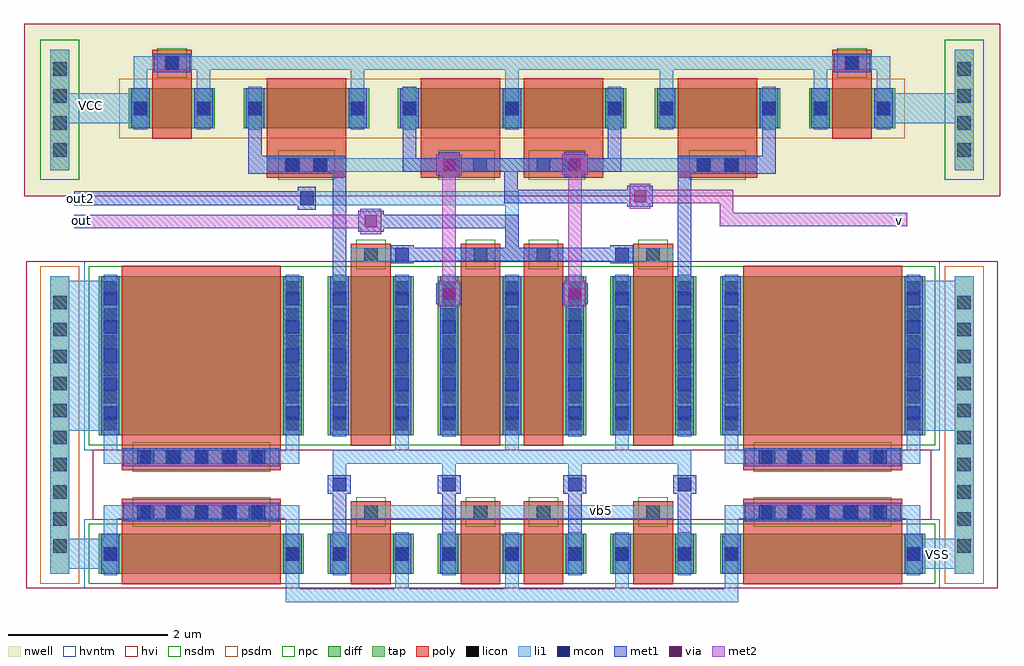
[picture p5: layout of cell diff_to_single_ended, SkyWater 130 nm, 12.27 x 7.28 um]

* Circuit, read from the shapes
.subckt diff_to_single_ended VCC VSS out out2 v vb5
XM1 VSS VSS VSS VSS sky130_fd_pr__nfet_g5v0d10v5 w=0.5 l=2 m=2
XM2 VSS VSS VSS VSS sky130_fd_pr__nfet_g5v0d10v5 w=2 l=2 m=2
XM3 VSS vb5 n1 VSS sky130_fd_pr__nfet_g5v0d10v5 w=0.5 l=0.5 m=4
XM4 n1 out n2 VSS sky130_fd_pr__nfet_g5v0d10v5 w=2 l=0.5 m=2
XM5 n1 out2 v VSS sky130_fd_pr__nfet_g5v0d10v5 w=2 l=0.5 m=2
XM6 VCC VCC VCC VCC sky130_fd_pr__pfet_g5v0d10v5 w=0.5 l=0.5 m=2
XM7 VCC n2 n2 VCC sky130_fd_pr__pfet_g5v0d10v5 w=0.5 l=1 m=2
XM8 VCC n2 v VCC sky130_fd_pr__pfet_g5v0d10v5 w=0.5 l=1 m=2
.ends

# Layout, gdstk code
import gdstk
lib = gdstk.Library(unit=1e-6, precision=1e-09)
def R(c, l, rs):  # rectangles x0, y0, x1, y1
    for r in rs: c.add(gdstk.rectangle(r[:2], r[2:], *l))
def A(c, l, x, y, w, h, nx, ny, dx, dy):  # array of equal rectangles
    R(c, l, [(x+i*dx, y+j*dy, x+i*dx+w, y+j*dy+h) for i in range(nx) for j in range(ny)])
nwell = (64, 20)
diff = (65, 20)
tap = (65, 44)
poly = (66, 20)
licon = (66, 44)
li1 = (67, 20)
mcon = (67, 44)
met1 = (68, 20)
via = (68, 44)
met2 = (69, 20)
hvi = (75, 20)
nsdm = (93, 44)
psdm = (94, 20)
npc = (95, 20)
hvntm = (125, 20)

sky130_fd_pr__nfet_g5v0d = lib.new_cell('sky130_fd_pr__nfet_g5v0d10v5_CDSXD6')
R(sky130_fd_pr__nfet_g5v0d, diff, [(-1.29,-0.405,1.29,0.095)])
R(sky130_fd_pr__nfet_g5v0d, poly, [(-1,-0.535,1,0.535)])
A(sky130_fd_pr__nfet_g5v0d, licon, -0.765, 0.285, 0.17, 0.17, 5, 1, 0.34, 0)
R(sky130_fd_pr__nfet_g5v0d, licon, [(-1.23,-0.24,-1.06,-0.07), (1.06,-0.24,1.23,-0.07)])
R(sky130_fd_pr__nfet_g5v0d, li1, [(-1.23,-0.425,-1.06,0.115), (1.06,-0.425,1.23,0.115), (-1,0.285,1,0.455)])
A(sky130_fd_pr__nfet_g5v0d, mcon, -0.805, 0.285, 0.17, 0.17, 5, 1, 0.36, 0)
R(sky130_fd_pr__nfet_g5v0d, mcon, [(-1.23,-0.24,-1.06,-0.07), (1.06,-0.24,1.23,-0.07)])
R(sky130_fd_pr__nfet_g5v0d, met1, [(-1.26,-0.405,-1.03,0.095), (1.03,-0.405,1.26,0.095), (-0.98,0.255,0.98,0.485)])
R(sky130_fd_pr__nfet_g5v0d, hvi, [(-1.475,-0.59,1.475,0.28)])
R(sky130_fd_pr__nfet_g5v0d, nsdm, [(-1.415,-0.53,1.415,0.22)])
R(sky130_fd_pr__nfet_g5v0d, npc, [(-0.865,0.185,0.865,0.555)])
R(sky130_fd_pr__nfet_g5v0d, hvntm, [(-1.475,-0.59,1.475,0.28)])

c_sky130_fd_pr__nfet_g5v0d = lib.new_cell('sky130_fd_pr__nfet_g5v0d10v5_DFFFYB')
R(c_sky130_fd_pr__nfet_g5v0d, diff, [(-1.29,-0.845,1.29,1.155)])
R(c_sky130_fd_pr__nfet_g5v0d, poly, [(-1,-1.285,1,1.285)])
A(c_sky130_fd_pr__nfet_g5v0d, licon, -0.765, -1.205, 0.17, 0.17, 5, 1, 0.34, 0)
A(c_sky130_fd_pr__nfet_g5v0d, licon, -1.23, -0.78, 0.17, 0.17, 1, 6, 0, 0.34)
A(c_sky130_fd_pr__nfet_g5v0d, licon, 1.06, -0.78, 0.17, 0.17, 1, 6, 0, 0.34)
R(c_sky130_fd_pr__nfet_g5v0d, li1, [(-1,-1.205,1,-1.035), (-1.23,-0.865,-1.06,1.175), (1.06,-0.865,1.23,1.175)])
A(c_sky130_fd_pr__nfet_g5v0d, mcon, -0.805, -1.205, 0.17, 0.17, 5, 1, 0.36, 0)
A(c_sky130_fd_pr__nfet_g5v0d, mcon, -1.23, -0.65, 0.17, 0.17, 1, 5, 0, 0.36)
A(c_sky130_fd_pr__nfet_g5v0d, mcon, 1.06, -0.65, 0.17, 0.17, 1, 5, 0, 0.36)
R(c_sky130_fd_pr__nfet_g5v0d, met1, [(-0.98,-1.235,0.98,-1.005), (-1.26,-0.845,-1.03,1.155), (1.03,-0.845,1.26,1.155)])
R(c_sky130_fd_pr__nfet_g5v0d, hvi, [(-1.475,-1.03,1.475,1.34)])
R(c_sky130_fd_pr__nfet_g5v0d, nsdm, [(-1.415,-0.97,1.415,1.28)])
R(c_sky130_fd_pr__nfet_g5v0d, npc, [(-0.865,-1.305,0.865,-0.935)])
R(c_sky130_fd_pr__nfet_g5v0d, hvntm, [(-1.475,-1.03,1.475,1.34)])

c_sky130_fd_pr__nfet_g5v0d_ = lib.new_cell('sky130_fd_pr__nfet_g5v0d10v5_NY97Z6')
R(c_sky130_fd_pr__nfet_g5v0d_, diff, [(-0.54,-1,0.54,1)])
R(c_sky130_fd_pr__nfet_g5v0d_, poly, [(-0.25,-1.13,0.25,1.13)])
A(c_sky130_fd_pr__nfet_g5v0d_, licon, -0.48, -0.935, 0.17, 0.17, 1, 6, 0, 0.34)
A(c_sky130_fd_pr__nfet_g5v0d_, licon, 0.31, -0.935, 0.17, 0.17, 1, 6, 0, 0.34)
R(c_sky130_fd_pr__nfet_g5v0d_, li1, [(-0.48,-1.02,-0.31,1.02), (0.31,-1.02,0.48,1.02)])
A(c_sky130_fd_pr__nfet_g5v0d_, mcon, -0.48, -0.805, 0.17, 0.17, 1, 5, 0, 0.36)
A(c_sky130_fd_pr__nfet_g5v0d_, mcon, 0.31, -0.805, 0.17, 0.17, 1, 5, 0, 0.36)
R(c_sky130_fd_pr__nfet_g5v0d_, met1, [(-0.51,-1,-0.28,1), (0.28,-1,0.51,1)])
R(c_sky130_fd_pr__nfet_g5v0d_, hvi, [(-0.725,-1.185,0.725,1.185)])
R(c_sky130_fd_pr__nfet_g5v0d_, nsdm, [(-0.665,-1.125,0.665,1.125)])
R(c_sky130_fd_pr__nfet_g5v0d_, hvntm, [(-0.725,-1.185,0.725,1.185)])

c_sky130_fd_pr__nfet_g5v0d__ = lib.new_cell('sky130_fd_pr__nfet_g5v0d10v5_VNB5GC')
R(c_sky130_fd_pr__nfet_g5v0d__, diff, [(-0.54,-0.25,0.54,0.25)])
R(c_sky130_fd_pr__nfet_g5v0d__, poly, [(-0.25,-0.38,0.25,0.38)])
R(c_sky130_fd_pr__nfet_g5v0d__, licon, [(-0.48,-0.085,-0.31,0.085), (0.31,-0.085,0.48,0.085)])
R(c_sky130_fd_pr__nfet_g5v0d__, li1, [(-0.48,-0.27,-0.31,0.27), (0.31,-0.27,0.48,0.27)])
R(c_sky130_fd_pr__nfet_g5v0d__, mcon, [(-0.48,-0.085,-0.31,0.085), (0.31,-0.085,0.48,0.085)])
R(c_sky130_fd_pr__nfet_g5v0d__, met1, [(-0.51,-0.25,-0.28,0.25), (0.28,-0.25,0.51,0.25)])
R(c_sky130_fd_pr__nfet_g5v0d__, hvi, [(-0.725,-0.435,0.725,0.435)])
R(c_sky130_fd_pr__nfet_g5v0d__, nsdm, [(-0.665,-0.375,0.665,0.375)])
R(c_sky130_fd_pr__nfet_g5v0d__, hvntm, [(-0.725,-0.435,0.725,0.435)])

sky130_fd_pr__pfet_g5v0d = lib.new_cell('sky130_fd_pr__pfet_g5v0d10v5_HCV9S7')
R(sky130_fd_pr__pfet_g5v0d, nwell, [(-0.72,-0.74,0.72,0.57)])
R(sky130_fd_pr__pfet_g5v0d, diff, [(-0.54,-0.43,0.54,0.07)])
R(sky130_fd_pr__pfet_g5v0d, poly, [(-0.25,-0.56,0.25,0.555)])
R(sky130_fd_pr__pfet_g5v0d, licon, [(-0.48,-0.265,-0.31,-0.095), (0.31,-0.265,0.48,-0.095), (-0.085,0.305,0.085,0.475)])
R(sky130_fd_pr__pfet_g5v0d, li1, [(-0.48,-0.45,-0.31,0.09), (0.31,-0.45,0.48,0.09), (-0.25,0.305,0.25,0.475)])
R(sky130_fd_pr__pfet_g5v0d, mcon, [(-0.48,-0.265,-0.31,-0.095), (0.31,-0.265,0.48,-0.095), (-0.085,0.305,0.085,0.475)])
R(sky130_fd_pr__pfet_g5v0d, met1, [(-0.51,-0.43,-0.28,0.07), (0.28,-0.43,0.51,0.07), (-0.23,0.275,0.23,0.505)])
R(sky130_fd_pr__pfet_g5v0d, hvi, [(-0.72,-0.74,0.72,-0.615), (-0.725,-0.615,0.725,0.255), (-0.72,0.255,0.72,0.57)])
R(sky130_fd_pr__pfet_g5v0d, psdm, [(-0.665,-0.555,0.665,0.195)])
R(sky130_fd_pr__pfet_g5v0d, npc, [(-0.185,0.205,0.185,0.575)])

c_sky130_fd_pr__pfet_g5v0d = lib.new_cell('sky130_fd_pr__pfet_g5v0d10v5_HGG9EV')
R(c_sky130_fd_pr__pfet_g5v0d, nwell, [(-0.97,-0.56,0.97,0.56)])
R(c_sky130_fd_pr__pfet_g5v0d, diff, [(-0.79,-0.25,0.79,0.25)])
R(c_sky130_fd_pr__pfet_g5v0d, poly, [(-0.5,-0.38,0.5,0.38)])
R(c_sky130_fd_pr__pfet_g5v0d, licon, [(-0.73,-0.085,-0.56,0.085), (0.56,-0.085,0.73,0.085)])
R(c_sky130_fd_pr__pfet_g5v0d, li1, [(-0.73,-0.27,-0.56,0.27), (0.56,-0.27,0.73,0.27)])
R(c_sky130_fd_pr__pfet_g5v0d, mcon, [(-0.73,-0.085,-0.56,0.085), (0.56,-0.085,0.73,0.085)])
R(c_sky130_fd_pr__pfet_g5v0d, met1, [(-0.76,-0.25,-0.53,0.25), (0.53,-0.25,0.76,0.25)])
R(c_sky130_fd_pr__pfet_g5v0d, hvi, [(-0.97,-0.56,0.97,-0.435), (-0.975,-0.435,0.975,0.435), (-0.97,0.435,0.97,0.56)])
R(c_sky130_fd_pr__pfet_g5v0d, psdm, [(-0.915,-0.375,0.915,0.375)])

diff_to_single_ended = lib.new_cell('diff_to_single_ended')
R(diff_to_single_ended, nwell, [(-4.53,-0.455,7.74,1.715)])
R(diff_to_single_ended, tap, [(-4.2,-5.2,-3.96,-1.46), (7.17,-5.2,7.41,-1.46), (-4.2,-0.125,-3.96,1.385), (7.17,-0.125,7.41,1.385)])
R(diff_to_single_ended, poly, [(-0.42,-4.66,0.08,-4.29), (0.96,-4.66,1.46,-4.29), (1.75,-4.66,2.25,-4.29), (3.13,-4.66,3.63,-4.29), (1.75,-1.42,2.25,-1.05), (3.13,-1.41,3.63,-1.05), (-0.42,-1.385,0.08,-1.05), (0.96,-1.385,1.46,-1.05), (-1.48,-0.22,-0.48,0.4), (0.46,-0.22,1.46,0.4), (1.75,-0.22,2.75,0.4), (3.69,-0.22,4.69,0.4)])
A(diff_to_single_ended, licon, -4.165, -4.935, 0.17, 0.17, 1, 10, 0, 0.34)
A(diff_to_single_ended, licon, 7.205, -4.935, 0.17, 0.17, 1, 10, 0, 0.34)
A(diff_to_single_ended, licon, -4.165, 0.04, 0.17, 0.17, 1, 4, 0, 0.34)
A(diff_to_single_ended, licon, 7.205, 0.04, 0.17, 0.17, 1, 4, 0, 0.34)
R(diff_to_single_ended, licon, [(-0.255,-4.51,-0.085,-4.34), (1.125,-4.51,1.295,-4.34), (1.915,-4.51,2.085,-4.34), (3.295,-4.51,3.465,-4.34), (-0.255,-1.27,-0.085,-1.1), (1.125,-1.27,1.295,-1.1), (1.915,-1.27,2.085,-1.1), (3.295,-1.27,3.465,-1.1), (-1.235,-0.145,-1.065,0.025), (-0.895,-0.145,-0.725,0.025), (0.78,-0.145,0.95,0.025), (1.12,-0.145,1.29,0.025), (1.915,-0.145,2.085,0.025), (2.255,-0.145,2.425,0.025), (3.935,-0.145,4.105,0.025), (4.275,-0.145,4.445,0.025)])
A(diff_to_single_ended, li1, -0.42, 0.46, 0.17, 0.675, 3, 1, 1.94, 0)
R(diff_to_single_ended, li1, [(-1.24,-5.56,4.45,-5.39), (-1.24,-5.39,-1.07,-4.51), (0.14,-5.39,0.31,-4.925), (1.52,-5.39,1.69,-5.05), (2.9,-5.39,3.07,-4.96), (4.28,-5.39,4.45,-4.51), (-4.2,-5.2,-3.96,-5.14), (7.17,-5.2,7.41,-5.14), (-4.2,-5.14,-3.36,-4.76), (6.57,-5.14,7.41,-4.76), (-4.2,-4.76,-3.96,-3.4), (-3.53,-4.76,-3.36,-4.51), (6.57,-4.76,6.74,-4.51), (7.17,-4.76,7.41,-3.4), (-3.53,-4.51,-1.07,-4.34), (-0.42,-4.51,3.63,-4.34), (4.28,-4.51,6.74,-4.34), (-0.65,-4.165,-0.48,-3.82), (0.73,-4.165,0.9,-3.82), (2.31,-4.165,2.48,-3.82), (3.69,-4.165,3.86,-3.82), (-3.53,-3.82,-1.07,-3.65), (-0.65,-3.82,3.86,-3.65), (4.28,-3.82,6.74,-3.65), (-3.53,-3.65,-3.36,-3.47), (-1.24,-3.65,-1.07,-3.46), (0.14,-3.65,0.31,-3.4), (1.52,-3.65,1.69,-3.45), (2.9,-3.65,3.07,-3.39), (4.28,-3.65,4.45,-3.465), (6.57,-3.65,6.74,-3.465), (-4.2,-3.4,-3.515,-1.52), (6.57,-3.4,7.41,-1.52), (-4.2,-1.52,-3.96,-1.46), (7.17,-1.52,7.41,-1.46), (-0.42,-1.27,0.31,-1.1), (0.96,-1.27,2.25,-1.1), (2.9,-1.27,3.63,-1.1), (1.52,-1.1,1.69,-0.565), (-1.06,-0.565,1.69,-0.395), (-1.48,-0.145,4.69,0.025), (-4.2,-0.125,-3.96,0.46), (7.17,-0.125,7.41,0.46), (-4.2,0.46,-3.14,0.84), (6.19,0.46,7.41,0.84), (-4.2,0.84,-3.96,1.385), (7.17,0.84,7.41,1.385), (5.4,0.88,5.57,1.135), (-3.15,0.9,-2.98,1.135), (-2.36,0.905,-2.19,1.135), (6.19,0.905,6.36,1.135), (-3.15,1.135,6.36,1.305)])
R(diff_to_single_ended, mcon, [(-0.65,-4.165,-0.48,-3.995), (0.73,-4.165,0.9,-3.995), (2.31,-4.165,2.48,-3.995), (3.69,-4.165,3.86,-3.995), (0.14,-1.27,0.31,-1.1), (2.9,-1.27,3.07,-1.1), (-1.06,-0.565,-0.89,-0.395), (-1.245,-0.145,-1.075,0.025), (-0.885,-0.145,-0.715,0.025), (3.925,-0.145,4.095,0.025), (4.285,-0.145,4.455,0.025)])
R(diff_to_single_ended, met1, [(-0.65,-5.14,-0.48,-4.195), (0.73,-5.14,0.9,-4.195), (2.31,-5.14,2.48,-4.195), (3.69,-5.14,3.86,-4.195), (-0.71,-4.195,-0.42,-3.965), (0.67,-4.195,0.96,-3.965), (2.25,-4.195,2.54,-3.965), (3.63,-4.195,3.92,-3.965), (5.94,-3.82,6.43,-3.745), (2.31,-2.3,2.48,-1.81), (0.73,-2.135,0.9,-1.81), (0.655,-1.81,0.975,-1.55), (2.235,-1.81,2.555,-1.55), (-0.65,-1.525,-0.48,-0.175), (3.69,-1.52,3.86,-0.175), (0.08,-1.3,0.37,-1.27), (2.84,-1.3,3.13,-1.27), (0.08,-1.27,3.13,-1.1), (0.08,-1.1,0.37,-1.07), (1.52,-1.1,1.69,-0.855), (2.84,-1.1,3.13,-1.07), (-0.33,-0.9,-0.01,-0.855), (-0.33,-0.855,1.69,-0.685), (-0.33,-0.685,-0.01,-0.64), (-1.09,-0.625,-0.86,-0.565), (3.055,-0.585,3.375,-0.54), (-3.9,-0.565,-0.86,-0.395), (1.51,-0.54,3.375,-0.37), (-1.09,-0.395,-0.86,-0.335), (1.51,-0.37,1.68,-0.145), (3.055,-0.37,3.375,-0.325), (0.685,-0.22,0.945,-0.145), (2.265,-0.215,2.525,-0.145), (-1.71,-0.175,-0.48,0.025), (3.69,-0.175,4.92,0.055), (0.23,-0.145,2.98,0.025), (-1.71,0.025,-0.485,0.055), (0.23,0.025,0.4,0.92), (0.685,0.025,0.945,0.1), (2.265,0.025,2.525,0.105), (2.81,0.025,2.98,0.67), (-1.71,0.055,-1.54,0.73), (4.75,0.055,4.92,0.74)])
R(diff_to_single_ended, via, [(0.74,-1.755,0.89,-1.605), (2.32,-1.755,2.47,-1.605), (-0.245,-0.845,-0.095,-0.695), (3.14,-0.53,3.29,-0.38), (0.74,-0.135,0.89,0.015), (2.32,-0.13,2.47,0.02)])
R(diff_to_single_ended, met2, [(0.685,-1.84,0.945,-1.52), (2.265,-1.84,2.525,-1.52), (0.73,-1.52,0.9,-0.19), (2.31,-1.52,2.48,-0.185), (-0.3,-0.93,-0.04,-0.855), (-3.9,-0.855,-0.04,-0.685), (4.215,-0.835,6.575,-0.665), (-0.3,-0.685,-0.04,-0.61), (4.215,-0.665,4.385,-0.54), (3.085,-0.615,3.345,-0.54), (3.085,-0.54,4.385,-0.37), (3.085,-0.37,3.345,-0.295), (0.655,-0.19,0.975,0.07), (2.235,-0.185,2.555,0.075)])
R(diff_to_single_ended, hvi, [(-4.5,-5.385,-3.66,-1.275), (6.87,-5.385,7.71,-1.275), (-4.53,-0.455,7.74,1.715)])
R(diff_to_single_ended, nsdm, [(-0.885,-5.325,-0.835,-4.575), (0.495,-5.325,0.545,-4.575), (2.665,-5.325,2.715,-4.575), (4.045,-5.325,4.095,-4.575), (-0.885,-3.585,-0.835,-1.335), (0.495,-3.585,0.545,-1.335), (2.665,-3.585,2.715,-1.335), (4.045,-3.585,4.095,-1.335), (-4.325,-0.25,-3.835,1.51), (7.045,-0.25,7.535,1.51)])
R(diff_to_single_ended, psdm, [(-4.325,-5.325,-3.835,-1.335), (7.045,-5.325,7.535,-1.335), (-2.005,0.275,-1.895,1.025), (-0.065,0.275,0.045,1.025), (3.165,0.275,3.275,1.025), (5.105,0.275,5.215,1.025)])
R(diff_to_single_ended, npc, [(-0.355,-4.61,0.015,-4.24), (1.025,-4.61,1.395,-4.24), (1.815,-4.61,2.185,-4.24), (3.195,-4.61,3.565,-4.24), (-0.355,-1.37,0.015,-1), (1.025,-1.37,1.395,-1), (1.815,-1.37,2.185,-1), (3.195,-1.37,3.565,-1), (-1.335,-0.245,-0.625,0.125), (0.68,-0.245,1.39,0.125), (1.815,-0.245,2.525,0.125), (3.835,-0.245,4.545,0.125)])
diff_to_single_ended.add(gdstk.Reference(sky130_fd_pr__nfet_g5v0d, (-2.3,-4.795)))
diff_to_single_ended.add(gdstk.Reference(c_sky130_fd_pr__nfet_g5v0d, (-2.3,-2.615)))
diff_to_single_ended.add(gdstk.Reference(c_sky130_fd_pr__nfet_g5v0d_, (1.21,-2.46)))
diff_to_single_ended.add(gdstk.Reference(c_sky130_fd_pr__nfet_g5v0d_, (2,-2.46)))
diff_to_single_ended.add(gdstk.Reference(c_sky130_fd_pr__nfet_g5v0d_, (-0.17,-2.46)))
diff_to_single_ended.add(gdstk.Reference(c_sky130_fd_pr__nfet_g5v0d__, (-0.17,-4.95)))
diff_to_single_ended.add(gdstk.Reference(c_sky130_fd_pr__nfet_g5v0d__, (2,-4.95)))
diff_to_single_ended.add(gdstk.Reference(c_sky130_fd_pr__nfet_g5v0d__, (1.21,-4.95)))
diff_to_single_ended.add(gdstk.Reference(c_sky130_fd_pr__nfet_g5v0d_, (3.38,-2.46)))
diff_to_single_ended.add(gdstk.Reference(c_sky130_fd_pr__nfet_g5v0d__, (3.38,-4.95)))
diff_to_single_ended.add(gdstk.Reference(sky130_fd_pr__nfet_g5v0d, (5.51,-4.795)))
diff_to_single_ended.add(gdstk.Reference(c_sky130_fd_pr__nfet_g5v0d, (5.51,-2.615)))
diff_to_single_ended.add(gdstk.Reference(sky130_fd_pr__pfet_g5v0d, (-2.67,0.83)))
diff_to_single_ended.add(gdstk.Reference(c_sky130_fd_pr__pfet_g5v0d, (-0.98,0.65)))
diff_to_single_ended.add(gdstk.Reference(c_sky130_fd_pr__pfet_g5v0d, (0.96,0.65)))
diff_to_single_ended.add(gdstk.Reference(c_sky130_fd_pr__pfet_g5v0d, (2.25,0.65)))
diff_to_single_ended.add(gdstk.Reference(c_sky130_fd_pr__pfet_g5v0d, (4.19,0.65)))
diff_to_single_ended.add(gdstk.Reference(sky130_fd_pr__pfet_g5v0d, (5.88,0.83)))
diff_to_single_ended.add(gdstk.Label('VCC', (-3.695,0.69), layer=67, texttype=5))
diff_to_single_ended.add(gdstk.Label('vb5', (2.73,-4.405), layer=67, texttype=5))
diff_to_single_ended.add(gdstk.Label('VSS', (6.95,-4.96), layer=67, texttype=5))
diff_to_single_ended.add(gdstk.Label('out', (-3.805,-0.765), layer=69, texttype=5))
diff_to_single_ended.add(gdstk.Label('out2', (-3.825,-0.485), layer=68, texttype=5))
diff_to_single_ended.add(gdstk.Label('v', (6.48,-0.755), layer=69, texttype=5))

lib.write_gds('diff_to_single_ended.gds')
